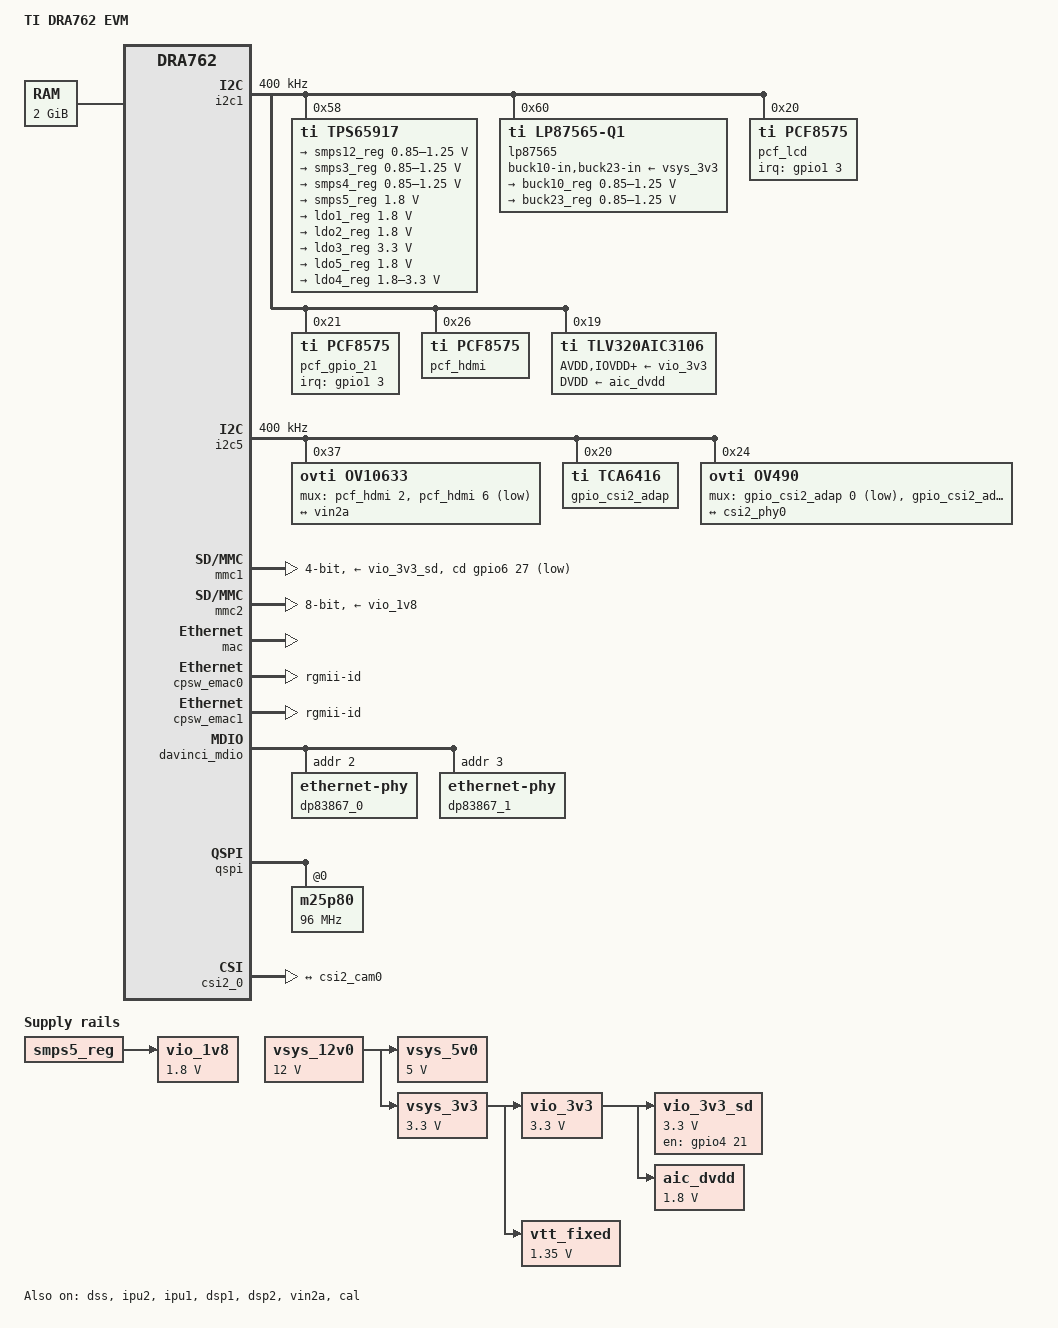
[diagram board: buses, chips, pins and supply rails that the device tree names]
/*
 * Copyright (C) 2017 Texas Instruments Incorporated - http://www.ti.com/
 *
 * This program is free software; you can redistribute it and/or modify
 * it under the terms of the GNU General Public License version 2 as
 * published by the Free Software Foundation.
 */
/dts-v1/;

#include "dra76x.dtsi"
#include "dra7-evm-common.dtsi"
#include <dt-bindings/net/ti-dp83867.h>

/ {
	model = "TI DRA762 EVM";
	compatible = "ti,dra76-evm", "ti,dra762", "ti,dra7";

	memory@0 {
		device_type = "memory";
		reg = <0x0 0x80000000 0x0 0x80000000>;
	};

	reserved-memory {
		#address-cells = <2>;
		#size-cells = <2>;
		ranges;

		ipu2_cma_pool: ipu2_cma@95800000 {
			compatible = "shared-dma-pool";
			reg = <0x0 0x95800000 0x0 0x3800000>;
			reusable;
			status = "okay";
		};

		dsp1_cma_pool: dsp1_cma@99000000 {
			compatible = "shared-dma-pool";
			reg = <0x0 0x99000000 0x0 0x4000000>;
			reusable;
			status = "okay";
		};

		ipu1_cma_pool: ipu1_cma@9d000000 {
			compatible = "shared-dma-pool";
			reg = <0x0 0x9d000000 0x0 0x2000000>;
			reusable;
			status = "okay";
		};

		dsp2_cma_pool: dsp2_cma@9f000000 {
			compatible = "shared-dma-pool";
			reg = <0x0 0x9f000000 0x0 0x800000>;
			reusable;
			status = "okay";
		};
	};

	vsys_12v0: fixedregulator-vsys12v0 {
		/* main supply */
		compatible = "regulator-fixed";
		regulator-name = "vsys_12v0";
		regulator-min-microvolt = <12000000>;
		regulator-max-microvolt = <12000000>;
		regulator-always-on;
		regulator-boot-on;
	};

	vsys_5v0: fixedregulator-vsys5v0 {
		/* Output of Cntlr B of TPS43351-Q1 on dra76-evm */
		compatible = "regulator-fixed";
		regulator-name = "vsys_5v0";
		regulator-min-microvolt = <5000000>;
		regulator-max-microvolt = <5000000>;
		vin-supply = <&vsys_12v0>;
		regulator-always-on;
		regulator-boot-on;
	};

	vsys_3v3: fixedregulator-vsys3v3 {
		/* Output of Cntlr A of TPS43351-Q1 on dra76-evm */
		compatible = "regulator-fixed";
		regulator-name = "vsys_3v3";
		regulator-min-microvolt = <3300000>;
		regulator-max-microvolt = <3300000>;
		vin-supply = <&vsys_12v0>;
		regulator-always-on;
		regulator-boot-on;
	};

	vio_3v3: fixedregulator-vio_3v3 {
		compatible = "regulator-fixed";
		regulator-name = "vio_3v3";
		regulator-min-microvolt = <3300000>;
		regulator-max-microvolt = <3300000>;
		vin-supply = <&vsys_3v3>;
		regulator-always-on;
		regulator-boot-on;
	};

	vio_3v3_sd: fixedregulator-sd {
		compatible = "regulator-fixed";
		regulator-name = "vio_3v3_sd";
		regulator-min-microvolt = <3300000>;
		regulator-max-microvolt = <3300000>;
		vin-supply = <&vio_3v3>;
		enable-active-high;
		gpio = <&gpio4 21 GPIO_ACTIVE_HIGH>;
	};

	vio_1v8: fixedregulator-vio_1v8 {
		compatible = "regulator-fixed";
		regulator-name = "vio_1v8";
		regulator-min-microvolt = <1800000>;
		regulator-max-microvolt = <1800000>;
		vin-supply = <&smps5_reg>;
	};

	vtt_fixed: fixedregulator-vtt {
		compatible = "regulator-fixed";
		regulator-name = "vtt_fixed";
		regulator-min-microvolt = <1350000>;
		regulator-max-microvolt = <1350000>;
		vin-supply = <&vsys_3v3>;
		regulator-always-on;
		regulator-boot-on;
	};

	aic_dvdd: fixedregulator-aic_dvdd {
		/* TPS77018DBVT */
		compatible = "regulator-fixed";
		regulator-name = "aic_dvdd";
		vin-supply = <&vio_3v3>;
		regulator-min-microvolt = <1800000>;
		regulator-max-microvolt = <1800000>;
	};
};

&dra7_pmx_core {
	mmc1_pins_default: mmc1_pins_default {
		pinctrl-single,pins = <
			DRA7XX_CORE_IOPAD(0x376c, PIN_INPUT | MUX_MODE14)	/* mmc1sdcd.gpio219 */
			DRA7XX_CORE_IOPAD(0x3754, PIN_INPUT_PULLUP | MUX_MODE0) /* mmc1_clk.clk */
			DRA7XX_CORE_IOPAD(0x3758, PIN_INPUT_PULLUP | MUX_MODE0) /* mmc1_cmd.cmd */
			DRA7XX_CORE_IOPAD(0x375c, PIN_INPUT_PULLUP | MUX_MODE0) /* mmc1_dat0.dat0 */
			DRA7XX_CORE_IOPAD(0x3760, PIN_INPUT_PULLUP | MUX_MODE0) /* mmc1_dat1.dat1 */
			DRA7XX_CORE_IOPAD(0x3764, PIN_INPUT_PULLUP | MUX_MODE0) /* mmc1_dat2.dat2 */
			DRA7XX_CORE_IOPAD(0x3768, PIN_INPUT_PULLUP | MUX_MODE0) /* mmc1_dat3.dat3 */
		>;
	};

	mmc2_pins_default: mmc2_pins_default {
		pinctrl-single,pins = <
			DRA7XX_CORE_IOPAD(0x349c, PIN_INPUT_PULLUP | MUX_MODE1) /* gpmc_a23.mmc2_clk */
			DRA7XX_CORE_IOPAD(0x34b0, PIN_INPUT_PULLUP | MUX_MODE1) /* gpmc_cs1.mmc2_cmd */
			DRA7XX_CORE_IOPAD(0x34a0, PIN_INPUT_PULLUP | MUX_MODE1) /* gpmc_a24.mmc2_dat0 */
			DRA7XX_CORE_IOPAD(0x34a4, PIN_INPUT_PULLUP | MUX_MODE1) /* gpmc_a25.mmc2_dat1 */
			DRA7XX_CORE_IOPAD(0x34a8, PIN_INPUT_PULLUP | MUX_MODE1) /* gpmc_a26.mmc2_dat2 */
			DRA7XX_CORE_IOPAD(0x34ac, PIN_INPUT_PULLUP | MUX_MODE1) /* gpmc_a27.mmc2_dat3 */
			DRA7XX_CORE_IOPAD(0x348c, PIN_INPUT_PULLUP | MUX_MODE1) /* gpmc_a19.mmc2_dat4 */
			DRA7XX_CORE_IOPAD(0x3490, PIN_INPUT_PULLUP | MUX_MODE1) /* gpmc_a20.mmc2_dat5 */
			DRA7XX_CORE_IOPAD(0x3494, PIN_INPUT_PULLUP | MUX_MODE1) /* gpmc_a21.mmc2_dat6 */
			DRA7XX_CORE_IOPAD(0x3498, PIN_INPUT_PULLUP | MUX_MODE1) /* gpmc_a22.mmc2_dat7 */
		>;
	};

	mmc4_pins_default: mmc4_pins_default {
		pinctrl-single,pins = <
			DRA7XX_CORE_IOPAD(0x37e8, PIN_INPUT_PULLUP | MODE_SELECT | MUX_MODE3) /* uart1_ctsn.mmc4_clk */
			DRA7XX_CORE_IOPAD(0x37ec, PIN_INPUT_PULLUP | MODE_SELECT | MUX_MODE3) /* uart1_rtsn.mmc4_cmd */
			DRA7XX_CORE_IOPAD(0x37f0, PIN_INPUT_PULLUP | MODE_SELECT | MUX_MODE3) /* uart2_rxd.mmc4_dat0 */
			DRA7XX_CORE_IOPAD(0x37f4, PIN_INPUT_PULLUP | MODE_SELECT | MUX_MODE3) /* uart2_txd.mmc4_dat1 */
			DRA7XX_CORE_IOPAD(0x37f8, PIN_INPUT_PULLUP | MODE_SELECT | MUX_MODE3) /* uart2_ctsn.mmc4_dat2 */
			DRA7XX_CORE_IOPAD(0x37fc, PIN_INPUT_PULLUP | MODE_SELECT | MUX_MODE3) /* uart2_rtsn.mmc4_dat3 */
		>;
	};
};

&i2c1 {
	status = "okay";
	clock-frequency = <400000>;

	tps65917: tps65917@58 {
		compatible = "ti,tps65917";
		reg = <0x58>;
		ti,system-power-controller;
		interrupt-controller;
		#interrupt-cells = <2>;

		tps65917_pmic {
			compatible = "ti,tps65917-pmic";

			smps12-in-supply = <&vsys_3v3>;
			smps3-in-supply = <&vsys_3v3>;
			smps4-in-supply = <&vsys_3v3>;
			smps5-in-supply = <&vsys_3v3>;
			ldo1-in-supply = <&vsys_3v3>;
			ldo2-in-supply = <&vsys_3v3>;
			ldo3-in-supply = <&vsys_5v0>;
			ldo4-in-supply = <&vsys_5v0>;
			ldo5-in-supply = <&vsys_3v3>;

			tps65917_regulators: regulators {
				smps12_reg: smps12 {
					/* VDD_DSPEVE */
					regulator-name = "smps12";
					regulator-min-microvolt = <850000>;
					regulator-max-microvolt = <1250000>;
					regulator-always-on;
					regulator-boot-on;
				};

				smps3_reg: smps3 {
					/* VDD_CORE */
					regulator-name = "smps3";
					regulator-min-microvolt = <850000>;
					regulator-max-microvolt = <1250000>;
					regulator-boot-on;
					regulator-always-on;
				};

				smps4_reg: smps4 {
					/* VDD_IVA */
					regulator-name = "smps4";
					regulator-min-microvolt = <850000>;
					regulator-max-microvolt = <1250000>;
					regulator-always-on;
					regulator-boot-on;
				};

				smps5_reg: smps5 {
					/* VDDS1V8 */
					regulator-name = "smps5";
					regulator-min-microvolt = <1800000>;
					regulator-max-microvolt = <1800000>;
					regulator-boot-on;
					regulator-always-on;
				};

				ldo1_reg: ldo1 {
					/* LDO1_OUT --> VDA_PHY1_1V8  */
					regulator-name = "ldo1";
					regulator-min-microvolt = <1800000>;
					regulator-max-microvolt = <1800000>;
					regulator-always-on;
					regulator-boot-on;
					regulator-allow-bypass;
				};

				ldo2_reg: ldo2 {
					/* LDO2_OUT --> VDA_PHY2_1V8 */
					regulator-name = "ldo2";
					regulator-min-microvolt = <1800000>;
					regulator-max-microvolt = <1800000>;
					regulator-allow-bypass;
					regulator-always-on;
				};

				ldo3_reg: ldo3 {
					/* VDA_USB_3V3 */
					regulator-name = "ldo3";
					regulator-min-microvolt = <3300000>;
					regulator-max-microvolt = <3300000>;
					regulator-boot-on;
					regulator-always-on;
				};

				ldo5_reg: ldo5 {
					/* VDDA_1V8_PLL */
					regulator-name = "ldo5";
					regulator-min-microvolt = <1800000>;
					regulator-max-microvolt = <1800000>;
					regulator-always-on;
					regulator-boot-on;
				};

				ldo4_reg: ldo4 {
					/* VDD_SDIO_DV */
					regulator-name = "ldo4";
					regulator-min-microvolt = <1800000>;
					regulator-max-microvolt = <3300000>;
					regulator-boot-on;
					regulator-always-on;
				};
			};
		};

		tps65917_power_button {
			compatible = "ti,palmas-pwrbutton";
			interrupt-parent = <&tps65917>;
			interrupts = <1 IRQ_TYPE_NONE>;
			wakeup-source;
			ti,palmas-long-press-seconds = <6>;
		};
	};

	lp87565: lp87565@60 {
		compatible = "ti,lp87565-q1";
		reg = <0x60>;

		buck10-in-supply =<&vsys_3v3>;
		buck23-in-supply =<&vsys_3v3>;

		regulators: regulators {
			buck10_reg: buck10 {
				/*VDD_MPU*/
				regulator-name = "buck10";
				regulator-min-microvolt = <850000>;
				regulator-max-microvolt = <1250000>;
				regulator-always-on;
				regulator-boot-on;
			};

			buck23_reg: buck23 {
				/* VDD_GPU*/
				regulator-name = "buck23";
				regulator-min-microvolt = <850000>;
				regulator-max-microvolt = <1250000>;
				regulator-boot-on;
				regulator-always-on;
			};
		};
	};

	pcf_lcd: pcf8757@20 {
		compatible = "ti,pcf8575", "nxp,pcf8575";
		reg = <0x20>;
		gpio-controller;
		#gpio-cells = <2>;
		interrupt-controller;
		#interrupt-cells = <2>;
		interrupt-parent = <&gpio1>;
		interrupts = <3 IRQ_TYPE_EDGE_FALLING>;
	};

	pcf_gpio_21: pcf8757@21 {
		compatible = "ti,pcf8575", "nxp,pcf8575";
		reg = <0x21>;
		gpio-controller;
		#gpio-cells = <2>;
		interrupt-parent = <&gpio1>;
		interrupts = <3 IRQ_TYPE_EDGE_FALLING>;
		interrupt-controller;
		#interrupt-cells = <2>;
	};

	pcf_hdmi: pcf8575@26 {
		compatible = "ti,pcf8575", "nxp,pcf8575";
		reg = <0x26>;
		gpio-controller;
		#gpio-cells = <2>;
		p1 {
			/* vin6_sel_s0: high: VIN6, low: audio */
			gpio-hog;
			gpios = <1 GPIO_ACTIVE_HIGH>;
			output-low;
			line-name = "vin6_sel_s0";
		};
	};

	tlv320aic3106: tlv320aic3106@19 {
		#sound-dai-cells = <0>;
		compatible = "ti,tlv320aic3106";
		reg = <0x19>;
		adc-settle-ms = <40>;
		ai3x-micbias-vg = <1>;		/* 2.0V */
		status = "okay";

		/* Regulators */
		AVDD-supply = <&vio_3v3>;
		IOVDD-supply = <&vio_3v3>;
		DRVDD-supply = <&vio_3v3>;
		DVDD-supply = <&aic_dvdd>;
	};
};

&i2c5 {
	status = "okay";
	clock-frequency = <400000>;

	ov10633@37 {
		compatible = "ovti,ov10633";
		reg = <0x37>;

		clocks = <&clk_ov10633_fixed>;
		clock-names = "xvclk";

		mux-gpios = <&pcf_hdmi 2	GPIO_ACTIVE_HIGH>, /* VIN2_S0 */
			    <&pcf_hdmi 6	GPIO_ACTIVE_LOW>; /* VIN2_S2 */
		port {
			onboardLI: endpoint {
				remote-endpoint = <&vin2a>;
				hsync-active = <1>;
				vsync-active = <1>;
				pclk-sample = <0>;
			};
		};
	};

	gpio_csi2_adap: tca6416@20 {
		status = "okay";
		compatible = "ti,tca6416";
		reg = <0x20>;
		gpio-controller;
		#gpio-cells = <2>;
	};

	ov490@24 {
		compatible = "ovti,ov490";
		reg = <0x24>;

		mux-gpios = <&gpio_csi2_adap 0	GPIO_ACTIVE_LOW>,
						/* CSI2_SEL_I2C_CLK */
			    <&gpio_csi2_adap 1	GPIO_ACTIVE_HIGH>,
						/* CSI2_SEL_REF_CLK */
			    <&gpio_csi2_adap 3	GPIO_ACTIVE_HIGH>,
						/* CSI2_CAM0_RESETn */
			    <&gpio_csi2_adap 4	GPIO_ACTIVE_LOW>;
						/* CSI2_CAM0_PWR_DWN */
		port {
			csi2_cam0: endpoint@0 {
				clock-lanes = <0>;
				data-lanes = <1 2 3 4>;
				remote-endpoint = <&csi2_phy0>;
			};
		};
	};
};

&tpd12s015 {
	compatible = "ti,tpd12s015";

	gpios = <&gpio7 30 GPIO_ACTIVE_HIGH>,	/* gpio7_30, CT CP HPD */
		<&gpio7 31 GPIO_ACTIVE_HIGH>,	/* gpio7_31, LS OE */
		<&gpio7 12 GPIO_ACTIVE_HIGH>;	/* gpio7_12/sp1_cs2, HPD */

};

&cpu0 {
	vdd-supply = <&buck10_reg>;
};

&mmc1 {
	status = "okay";
	vmmc-supply = <&vio_3v3_sd>;
	vmmc_aux-supply = <&ldo4_reg>;
	bus-width = <4>;
	/*
	 * SDCD signal is not being used here - using the fact that GPIO mode
	 * is always hardwired.
	 */
	cd-gpios = <&gpio6 27 GPIO_ACTIVE_LOW>;
	pinctrl-names = "default";
	pinctrl-0 = <&mmc1_pins_default>;
};

&mmc2 {
	status = "okay";
	vmmc-supply = <&vio_1v8>;
	bus-width = <8>;
	pinctrl-names = "default";
	pinctrl-0 = <&mmc2_pins_default>;
};

/* No RTC on this device */
&rtc {
	status = "disabled";
};

&mac {
	status = "okay";

	dual_emac;
};

&cpsw_emac0 {
	phy_id = <&davinci_mdio>, <2>;
	phy-mode = "rgmii-id";
	dual_emac_res_vlan = <1>;
};

&cpsw_emac1 {
	phy_id = <&davinci_mdio>, <3>;
	phy-mode = "rgmii-id";
	dual_emac_res_vlan = <2>;
};

&davinci_mdio {
	dp83867_0: ethernet-phy@2 {
		reg = <2>;
		ti,rx-internal-delay = <DP83867_RGMIIDCTL_2_25_NS>;
		ti,tx-internal-delay = <DP83867_RGMIIDCTL_250_PS>;
		ti,fifo-depth = <DP83867_PHYCR_FIFO_DEPTH_8_B_NIB>;
		ti,min-output-impedance;
		ti,dp83867-rxctrl-strap-quirk;
	};

	dp83867_1: ethernet-phy@3 {
		reg = <3>;
		ti,rx-internal-delay = <DP83867_RGMIIDCTL_2_25_NS>;
		ti,tx-internal-delay = <DP83867_RGMIIDCTL_250_PS>;
		ti,fifo-depth = <DP83867_PHYCR_FIFO_DEPTH_8_B_NIB>;
		ti,min-output-impedance;
		ti,dp83867-rxctrl-strap-quirk;
	};
};

&usb2_phy1 {
	phy-supply = <&ldo3_reg>;
};

&usb2_phy2 {
	phy-supply = <&ldo3_reg>;
};

&dss {
	status = "ok";
	vdda_video-supply = <&ldo5_reg>;
};

&hdmi {
	vdda-supply = <&ldo1_reg>;
};

&qspi {
	spi-max-frequency = <96000000>;
	m25p80@0 {
		spi-max-frequency = <96000000>;
	};
};

&mailbox5 {
	status = "okay";
	mbox_ipu1_ipc3x: mbox_ipu1_ipc3x {
		status = "okay";
	};
	mbox_dsp1_ipc3x: mbox_dsp1_ipc3x {
		status = "okay";
	};
};

&mailbox6 {
	status = "okay";
	mbox_ipu2_ipc3x: mbox_ipu2_ipc3x {
		status = "okay";
	};
	mbox_dsp2_ipc3x: mbox_dsp2_ipc3x {
		status = "okay";
	};
};

&mmu0_dsp1 {
	status = "okay";
};

&mmu1_dsp1 {
	status = "okay";
};

&mmu0_dsp2 {
	status = "okay";
};

&mmu1_dsp2 {
	status = "okay";
};

&mmu_ipu1 {
	status = "okay";
};

&mmu_ipu2 {
	status = "okay";
};

&ipu2 {
	status = "okay";
	memory-region = <&ipu2_cma_pool>;
	mboxes = <&mailbox6 &mbox_ipu2_ipc3x>;
	timers = <&timer3>;
	watchdog-timers = <&timer4>, <&timer9>;
};

&ipu1 {
	status = "okay";
	memory-region = <&ipu1_cma_pool>;
	mboxes = <&mailbox5 &mbox_ipu1_ipc3x>;
	timers = <&timer11>;
	watchdog-timers = <&timer7>, <&timer8>;
};

&dsp1 {
	status = "okay";
	memory-region = <&dsp1_cma_pool>;
	mboxes = <&mailbox5 &mbox_dsp1_ipc3x>;
	timers = <&timer5>;
	watchdog-timers = <&timer10>;
};

&dsp2 {
	status = "okay";
	memory-region = <&dsp2_cma_pool>;
	mboxes = <&mailbox6 &mbox_dsp2_ipc3x>;
	timers = <&timer6>;
	watchdog-timers = <&timer13>;
};

&vin2a {
	status = "okay";
	endpoint@0 {
		slave-mode;
		remote-endpoint = <&onboardLI>;
	};
};

&cal {
	status = "okay";
};

&csi2_0 {
	csi2_phy0: endpoint@0 {
		slave-mode;
		remote-endpoint = <&csi2_cam0>;
	};
};
